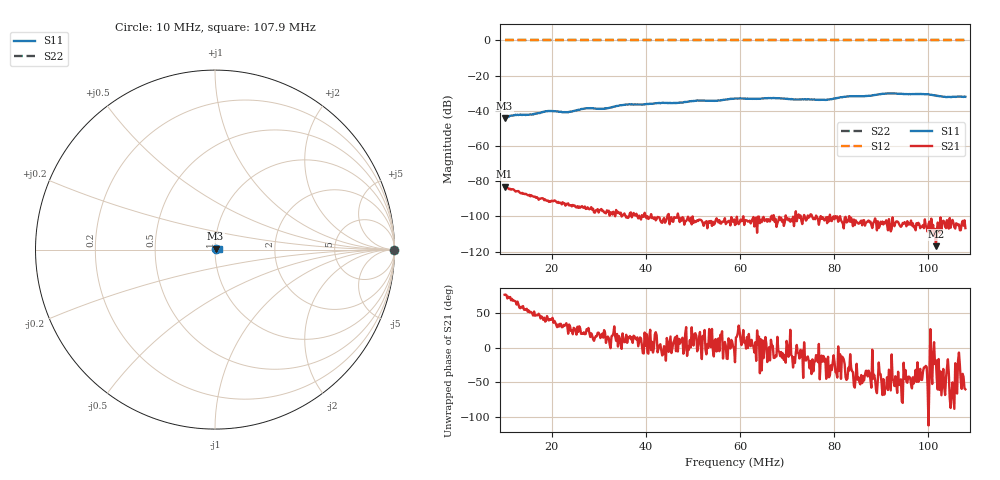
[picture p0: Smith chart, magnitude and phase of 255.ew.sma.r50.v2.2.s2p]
! Anritsu VNA Master:  Model: MS2036C/10/77
! SN:  1601066
! /card0/usr/255.ew.sma.r50.v2.2.s2p
! Existing Calibration Information:
! TYPE:  Current Settings,  Active Cal Settings
! TIME:  12/17/2017 06:30:03 PM,  12/17/2017 06:11:23 PM
! INTERNAL TEMP:  44.0 C,  43.8 C
! # POINTS:  501,  501
! START FREQ:  10.000 MHz,  10.000 MHz
! STOP FREQ:  107.903 125 MHz,  107.903 125 MHz
! SOURCE POWER:  High,  High
! IFBW:  100 Hz,  100 Hz
! AVG FACTOR:  1 ,  1
! REF PLANE 1:  0 mm,  0 mm
! REF PLANE 2:  0 mm,  0 mm
! CAL TYPE:  Full S11,  Full S11
! CAL METHOD:  SOLT,  SOLT
! CAL LINE TYPE:  Coax,  Coax
! DUT PORT 1:  K-Conn(F),  K-Conn(F)
! DUT PORT 2:  K-Conn(F),  K-Conn(F)
! CAL STATUS:  OK: Accuracy High,  --
# GHZ S DB R 50.0
! FREQ.GHZ  S11DB  S11A  S21DB  S21A  S12DB  S12A  S22DB  S22A
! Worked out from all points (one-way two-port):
!   501 points, 10 MHz to 107.9 MHz, reference 50 ohm
!   highest |S21| = -83.08 dB at 10 MHz (marker M1); lowest = -116.9 dB at 101.6 MHz (marker M2)
!   lowest |S11| = -44.1 dB at 10 MHz (marker M3), VSWR 1.01, Z = 50.3 + j0.551 ohm
!   |S11| at or under -10 dB: start of sweep to end of sweep
!   |S22| runs from 0.0 to 0.0 dB; largest |S21 - S12| = 1
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0.01  -44.13 61.8  -83.08 76.3  0.00 0.0  0.00 0.0
0.01156645  -42.65 65.7  -84.59 70.4  0.00 0.0  0.00 0.0
0.01567838  -42.13 65.9  -87.94 51.0  0.00 0.0  0.00 0.0
0.01900709  -40.22 64.5  -91.13 45.6  0.00 0.0  0.00 0.0
0.02331483  -40.73 60.6  -93.12 31.1  0.00 0.0  0.00 0.0
0.02644772  -38.94 54.5  -94.11 20.9  0.00 0.0  0.00 0.0
0.03075546  -38.78 52.8  -96.93 20.2  0.00 0.0  0.00 0.0
0.03565062  -36.51 47.4  -99.47 8.2  0.00 0.0  0.00 0.0
0.04269964  -35.58 45.5  -100.46 -1.2  0.00 0.0  0.00 0.0
0.04661577  -35.52 41.8  -100.72 17.1  0.00 0.0  0.00 0.0
0.05131512  -34.19 39.5  -101.79 15.2  0.00 0.0  0.00 0.0
0.05483963  -34.21 36.6  -102.21 12.4  0.00 0.0  0.00 0.0
0.05914737  -32.96 34.8  -104.35 14.6  0.00 0.0  0.00 0.0
0.06737123  -32.70 34.2  -102.99 -14.8  0.00 0.0  0.00 0.0
0.07539929  -33.61 26.0  -100.44 -17.0  0.00 0.0  0.00 0.0
0.07833638  -33.79 17.7  -100.43 -45.0  0.00 0.0  0.00 0.0
0.08264412  -31.85 11.8  -103.44 -46.5  0.00 0.0  0.00 0.0
0.08675605  -31.57 10.4  -103.66 -33.4  0.00 0.0  0.00 0.0
0.09165121  -30.08 11.7  -101.49 -31.8  0.00 0.0  0.00 0.0
0.1016373  -31.23 16.9  -116.89 -18.2  0.00 0.0  0.00 0.0
0.103987  -32.13 11.5  -102.11 -29.7  0.00 0.0  0.00 0.0
0.1079031  -32.00 6.5  -106.63 -60.1  0.00 0.0  0.00 0.0
